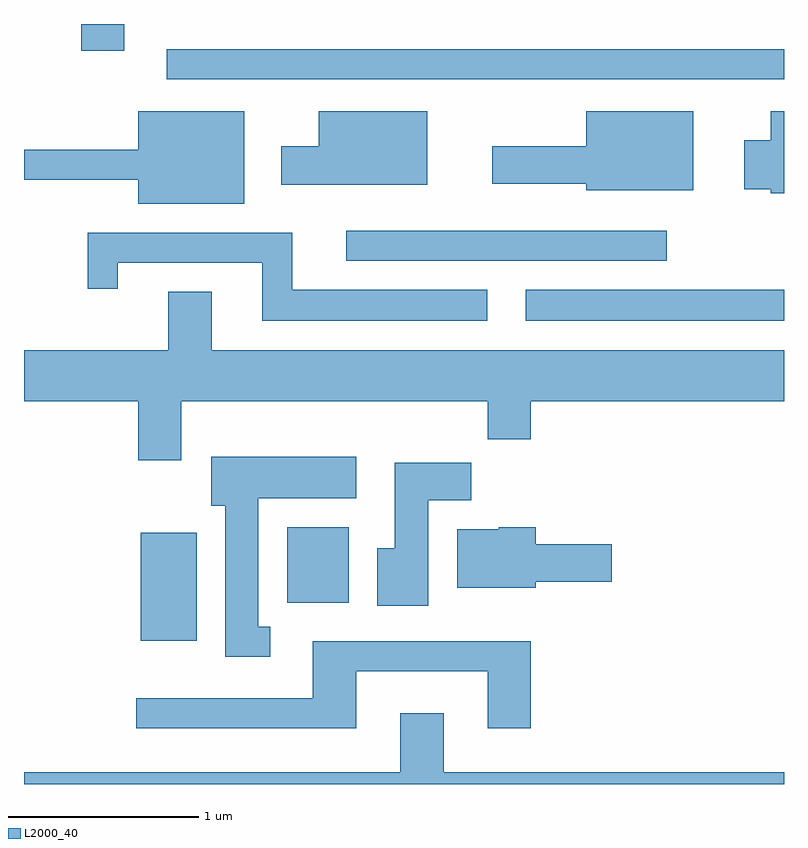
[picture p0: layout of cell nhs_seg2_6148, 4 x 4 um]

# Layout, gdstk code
import gdstk
lib = gdstk.Library(unit=1e-6, precision=1e-09)
def R(c, l, rs):  # rectangles x0, y0, x1, y1
    for r in rs: c.add(gdstk.rectangle(r[:2], r[2:], *l))
def P(c, l, *ps):  # polygons
    for p in ps: c.add(gdstk.Polygon(p, *l))
L2000_40 = (2000, 40)

nhs_seg2_6148 = lib.new_cell('nhs_seg2_6148')
R(nhs_seg2_6148, L2000_40, [(366.226,1102.556,366.519,1103.124), (366.996,1102.756,367.319,1103.154), (368.253,1104.241,369.611,1104.404), (367.308,1104.556,368.993,1104.714), (366.363,1105.511,369.611,1105.669), (365.911,1105.661,366.139,1105.802)])
P(nhs_seg2_6148, L2000_40, [(369.134,1105.344),(368.571,1105.344),(368.571,1105.159),(368.076,1105.159),(368.076,1104.961),(368.571,1104.961),(368.571,1104.926),(369.134,1104.926)],
  [(369.611,1105.344),(369.541,1105.344),(369.541,1105.189),(369.401,1105.189),(369.401,1104.931),(369.541,1104.931),(369.541,1104.911),(369.611,1104.911)],
  [(367.734,1105.344),(367.161,1105.344),(367.161,1105.159),(366.966,1105.159),(366.966,1104.956),(367.734,1104.956)],
  [(366.769,1105.344),(366.211,1105.344),(366.211,1105.139),(365.611,1105.139),(365.611,1104.981),(366.211,1104.981),(366.211,1104.856),(366.769,1104.856)],
  [(368.048,1104.404),(367.024,1104.404),(367.024,1104.704),(365.946,1104.704),(365.946,1104.408),(366.104,1104.408),(366.104,1104.546),(366.866,1104.546),(366.866,1104.241),(368.048,1104.241)],
  [(366.439,1103.816),(368.051,1103.816),(368.051,1103.616),(368.279,1103.616),(368.279,1103.816),(369.611,1103.816),(369.611,1104.084),(366.599,1104.084),(366.599,1104.394),(366.371,1104.394),(366.371,1104.084),(365.611,1104.084),(365.611,1103.816),(366.211,1103.816),(366.211,1103.506),(366.439,1103.506)],
  [(366.908,1102.629),(366.844,1102.629),(366.844,1103.306),(367.359,1103.306),(367.359,1103.524),(366.596,1103.524),(366.596,1103.266),(366.671,1103.266),(366.671,1102.471),(366.908,1102.471)],
  [(367.739,1103.296),(367.964,1103.296),(367.964,1103.494),(367.561,1103.494),(367.561,1103.044),(367.471,1103.044),(367.471,1102.741),(367.739,1102.741)],
  [(368.304,1102.866),(368.704,1102.866),(368.704,1103.064),(368.304,1103.064),(368.304,1103.154),(368.11,1103.154),(368.11,1103.144),(367.891,1103.144),(367.891,1102.836),(368.304,1102.836)],
  [(367.359,1102.396),(368.051,1102.396),(368.051,1102.096),(368.279,1102.096),(368.279,1102.554),(367.131,1102.554),(367.131,1102.254),(366.203,1102.254),(366.203,1102.096),(367.359,1102.096)],
  [(369.611,1101.864),(367.819,1101.864),(367.819,1102.174),(367.591,1102.174),(367.591,1101.864),(365.611,1101.864),(365.611,1101.802),(369.611,1101.802)])

lib.write_gds('nhs_seg2_6148.gds')
